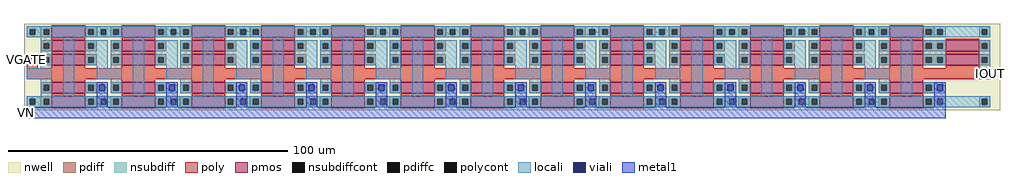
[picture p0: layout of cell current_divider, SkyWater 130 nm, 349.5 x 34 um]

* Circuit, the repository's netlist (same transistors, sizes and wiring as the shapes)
* SPICE3 file created from current_divider.ext - technology: sky130A

X0 a_27400_1800# VGATE a_22400_1800# VP sky130_fd_pr__pfet_01v8 ad=16 pd=16 as=16 ps=16 w=4 l=12
X1 IOUT VGATE a_62400_1800# VP sky130_fd_pr__pfet_01v8 ad=16 pd=16 as=16 ps=12 w=4 l=12
X2 VN VGATE a_37400_1800# VP sky130_fd_pr__pfet_01v8 ad=16 pd=16 as=16 ps=16 w=4 l=12
X3 VP VGATE VP VP sky130_fd_pr__pfet_01v8 ad=16 pd=16 as=880 ps=880 w=4 l=12
X4 VP VGATE VP VP sky130_fd_pr__pfet_01v8 ad=16 pd=16 as=0 ps=0 w=4 l=12
X5 a_17400_1800# VGATE a_12400_1800# VP sky130_fd_pr__pfet_01v8 ad=16 pd=16 as=16 ps=16 w=4 l=12
X6 VN VGATE a_17400_1800# VP sky130_fd_pr__pfet_01v8 ad=16 pd=16 as=16 ps=16 w=4 l=12
X7 VN VGATE a_27400_1800# VP sky130_fd_pr__pfet_01v8 ad=16 pd=16 as=16 ps=16 w=4 l=12
X8 VP VGATE VP VP sky130_fd_pr__pfet_01v8 ad=16 pd=16 as=0 ps=0 w=4 l=12
X9 VN VGATE a_7400_1800# VP sky130_fd_pr__pfet_01v8 ad=16 pd=16 as=16 ps=16 w=4 l=12
X10 a_7400_1800# VGATE a_2400_1800# VP sky130_fd_pr__pfet_01v8 ad=16 pd=16 as=16 ps=16 w=4 l=12
X11 a_7400_1800# VGATE a_2400_1800# VP sky130_fd_pr__pfet_01v8 ad=16 pd=16 as=16 ps=16 w=4 l=12
X12 VP VGATE VP VP sky130_fd_pr__pfet_01v8 ad=16 pd=16 as=0 ps=0 w=4 l=12
X13 VP VGATE VP VP sky130_fd_pr__pfet_01v8 ad=16 pd=16 as=0 ps=0 w=4 l=12
X14 VP VGATE VP VP sky130_fd_pr__pfet_01v8 ad=16 pd=16 as=0 ps=0 w=4 l=12
X15 VP VGATE VP VP sky130_fd_pr__pfet_01v8 ad=16 pd=16 as=0 ps=0 w=4 l=12
X16 VP VGATE VP VP sky130_fd_pr__pfet_01v8 ad=16 pd=16 as=0 ps=0 w=4 l=12
X17 VP VGATE VP VP sky130_fd_pr__pfet_01v8 ad=16 pd=16 as=0 ps=0 w=4 l=12
X18 a_62400_1800# VGATE a_57400_1800# VP sky130_fd_pr__pfet_01v8 ad=16 pd=12 as=16 ps=16 w=4 l=12
X19 VP VGATE VP VP sky130_fd_pr__pfet_01v8 ad=16 pd=16 as=0 ps=0 w=4 l=12
X20 VP VGATE VP VP sky130_fd_pr__pfet_01v8 ad=16 pd=16 as=0 ps=0 w=4 l=12
X21 VP VGATE VP VP sky130_fd_pr__pfet_01v8 ad=16 pd=16 as=0 ps=0 w=4 l=12
X22 a_52400_1800# VGATE a_47400_1800# VP sky130_fd_pr__pfet_01v8 ad=16 pd=16 as=16 ps=16 w=4 l=12
X23 a_62400_1800# VGATE a_57400_1800# VP sky130_fd_pr__pfet_01v8 ad=16 pd=12 as=16 ps=16 w=4 l=12
X24 VP VGATE VP VP sky130_fd_pr__pfet_01v8 ad=16 pd=16 as=0 ps=0 w=4 l=12
X25 a_42400_1800# VGATE a_37400_1800# VP sky130_fd_pr__pfet_01v8 ad=16 pd=16 as=16 ps=16 w=4 l=12
X26 a_52400_1800# VGATE a_47400_1800# VP sky130_fd_pr__pfet_01v8 ad=16 pd=16 as=16 ps=16 w=4 l=12
X27 VP VGATE VP VP sky130_fd_pr__pfet_01v8 ad=16 pd=16 as=0 ps=0 w=4 l=12
X28 a_22400_1800# VGATE a_17400_1800# VP sky130_fd_pr__pfet_01v8 ad=16 pd=16 as=16 ps=16 w=4 l=12
X29 a_32400_1800# VGATE a_27400_1800# VP sky130_fd_pr__pfet_01v8 ad=16 pd=16 as=16 ps=16 w=4 l=12
X30 a_42400_1800# VGATE a_37400_1800# VP sky130_fd_pr__pfet_01v8 ad=16 pd=16 as=16 ps=16 w=4 l=12
X31 VP VGATE VP VP sky130_fd_pr__pfet_01v8 ad=16 pd=16 as=0 ps=0 w=4 l=12
X32 a_12400_1800# VGATE a_7400_1800# VP sky130_fd_pr__pfet_01v8 ad=16 pd=16 as=16 ps=16 w=4 l=12
X33 a_22400_1800# VGATE a_17400_1800# VP sky130_fd_pr__pfet_01v8 ad=16 pd=16 as=16 ps=16 w=4 l=12
X34 a_32400_1800# VGATE a_27400_1800# VP sky130_fd_pr__pfet_01v8 ad=16 pd=16 as=16 ps=16 w=4 l=12
X35 a_12400_1800# VGATE a_7400_1800# VP sky130_fd_pr__pfet_01v8 ad=16 pd=16 as=16 ps=16 w=4 l=12
X36 VN VGATE a_42400_1800# VP sky130_fd_pr__pfet_01v8 ad=16 pd=16 as=16 ps=16 w=4 l=12
X37 VN VGATE a_52400_1800# VP sky130_fd_pr__pfet_01v8 ad=16 pd=16 as=16 ps=16 w=4 l=12
X38 VP VGATE VP VP sky130_fd_pr__pfet_01v8 ad=16 pd=16 as=0 ps=0 w=4 l=12
X39 VN VGATE VP VP sky130_fd_pr__pfet_01v8 ad=16 pd=16 as=16 ps=16 w=4 l=12
X40 VN VGATE a_32400_1800# VP sky130_fd_pr__pfet_01v8 ad=16 pd=16 as=16 ps=16 w=4 l=12
X41 VN VGATE a_22400_1800# VP sky130_fd_pr__pfet_01v8 ad=16 pd=16 as=16 ps=16 w=4 l=12
X42 VN VGATE a_12400_1800# VP sky130_fd_pr__pfet_01v8 ad=16 pd=16 as=16 ps=16 w=4 l=12
X43 VP VGATE VP VP sky130_fd_pr__pfet_01v8 ad=16 pd=16 as=0 ps=0 w=4 l=12
X44 VN VGATE a_2400_1800# VP sky130_fd_pr__pfet_01v8 ad=16 pd=16 as=16 ps=16 w=4 l=12
X45 VP VGATE VP VP sky130_fd_pr__pfet_01v8 ad=16 pd=16 as=0 ps=0 w=4 l=12
X46 VP VGATE VP VP sky130_fd_pr__pfet_01v8 ad=16 pd=16 as=0 ps=0 w=4 l=12
X47 VP VGATE VP VP sky130_fd_pr__pfet_01v8 ad=16 pd=16 as=0 ps=0 w=4 l=12
X48 VP VGATE VP VP sky130_fd_pr__pfet_01v8 ad=16 pd=16 as=0 ps=0 w=4 l=12
X49 VP VGATE VP VP sky130_fd_pr__pfet_01v8 ad=16 pd=16 as=0 ps=0 w=4 l=12
X50 VP VGATE VP VP sky130_fd_pr__pfet_01v8 ad=16 pd=16 as=0 ps=0 w=4 l=12
X51 a_47400_1800# VGATE a_42400_1800# VP sky130_fd_pr__pfet_01v8 ad=16 pd=16 as=16 ps=16 w=4 l=12
X52 a_57400_1800# VGATE a_52400_1800# VP sky130_fd_pr__pfet_01v8 ad=16 pd=16 as=16 ps=16 w=4 l=12
X53 VP VGATE VP VP sky130_fd_pr__pfet_01v8 ad=16 pd=16 as=0 ps=0 w=4 l=12
X54 VP VGATE VP VP sky130_fd_pr__pfet_01v8 ad=16 pd=16 as=0 ps=0 w=4 l=12
X55 a_2400_1800# VGATE VP VP sky130_fd_pr__pfet_01v8 ad=16 pd=16 as=16 ps=16 w=4 l=12
X56 a_37400_1800# VGATE a_32400_1800# VP sky130_fd_pr__pfet_01v8 ad=16 pd=16 as=16 ps=16 w=4 l=12
X57 a_47400_1800# VGATE a_42400_1800# VP sky130_fd_pr__pfet_01v8 ad=16 pd=16 as=16 ps=16 w=4 l=12
X58 a_57400_1800# VGATE a_52400_1800# VP sky130_fd_pr__pfet_01v8 ad=16 pd=16 as=16 ps=16 w=4 l=12
X59 VP VGATE VP VP sky130_fd_pr__pfet_01v8 ad=16 pd=16 as=0 ps=0 w=4 l=12
X60 a_17400_1800# VGATE a_12400_1800# VP sky130_fd_pr__pfet_01v8 ad=16 pd=16 as=16 ps=16 w=4 l=12
X61 a_27400_1800# VGATE a_22400_1800# VP sky130_fd_pr__pfet_01v8 ad=16 pd=16 as=16 ps=16 w=4 l=12
X62 IOUT VGATE a_62400_1800# VP sky130_fd_pr__pfet_01v8 ad=16 pd=16 as=16 ps=12 w=4 l=12
X63 a_2400_1800# VGATE VP VP sky130_fd_pr__pfet_01v8 ad=16 pd=16 as=16 ps=16 w=4 l=12
X64 a_37400_1800# VGATE a_32400_1800# VP sky130_fd_pr__pfet_01v8 ad=16 pd=16 as=16 ps=16 w=4 l=12
X65 VN VGATE a_47400_1800# VP sky130_fd_pr__pfet_01v8 ad=16 pd=16 as=16 ps=16 w=4 l=12
X66 VN VGATE a_57400_1800# VP sky130_fd_pr__pfet_01v8 ad=16 pd=16 as=16 ps=16 w=4 l=12

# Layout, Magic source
magic
tech sky130A
<< nwell >>
rect -1000 -700 33950 2400
<< pmos >>
rect 0 1900 1200 2300
rect 2500 1900 3700 2300
rect 5000 1900 6200 2300
rect 7500 1900 8700 2300
rect 10000 1900 11200 2300
rect 12500 1900 13700 2300
rect 15000 1900 16200 2300
rect 17500 1900 18700 2300
rect 20000 1900 21200 2300
rect 22500 1900 23700 2300
rect 25000 1900 26200 2300
rect 27500 1900 28700 2300
rect 30000 1900 31200 2300
rect 0 1400 1200 1800
rect 2500 1400 3700 1800
rect 5000 1400 6200 1800
rect 7500 1400 8700 1800
rect 10000 1400 11200 1800
rect 12500 1400 13700 1800
rect 15000 1400 16200 1800
rect 17500 1400 18700 1800
rect 20000 1400 21200 1800
rect 22500 1400 23700 1800
rect 25000 1400 26200 1800
rect 27500 1400 28700 1800
rect 30000 1400 31200 1800
rect 32000 1400 33200 1800
rect 0 900 1200 1300
rect 2500 900 3700 1300
rect 5000 900 6200 1300
rect 7500 900 8700 1300
rect 10000 900 11200 1300
rect 12500 900 13700 1300
rect 15000 900 16200 1300
rect 17500 900 18700 1300
rect 20000 900 21200 1300
rect 22500 900 23700 1300
rect 25000 900 26200 1300
rect 27500 900 28700 1300
rect 30000 900 31200 1300
rect 32000 900 33200 1300
rect 0 -100 1200 300
rect 2500 -100 3700 300
rect 5000 -100 6200 300
rect 7500 -100 8700 300
rect 10000 -100 11200 300
rect 12500 -100 13700 300
rect 15000 -100 16200 300
rect 17500 -100 18700 300
rect 20000 -100 21200 300
rect 22500 -100 23700 300
rect 25000 -100 26200 300
rect 27500 -100 28700 300
rect 30000 -100 31200 300
rect 0 -600 1200 -200
rect 2500 -600 3700 -200
rect 5000 -600 6200 -200
rect 7500 -600 8700 -200
rect 10000 -600 11200 -200
rect 12500 -600 13700 -200
rect 15000 -600 16200 -200
rect 17500 -600 18700 -200
rect 20000 -600 21200 -200
rect 22500 -600 23700 -200
rect 25000 -600 26200 -200
rect 27500 -600 28700 -200
rect 30000 -600 31200 -200
<< pdiff >>
rect -400 2200 0 2300
rect -400 2000 -300 2200
rect -100 2000 0 2200
rect -400 1900 0 2000
rect 1200 2200 1600 2300
rect 2100 2200 2500 2300
rect 1200 2000 1300 2200
rect 1500 2000 1600 2200
rect 2100 2000 2200 2200
rect 2400 2000 2500 2200
rect 1200 1900 1600 2000
rect 2100 1900 2500 2000
rect 3700 2200 4100 2300
rect 4600 2200 5000 2300
rect 3700 2000 3800 2200
rect 4000 2000 4100 2200
rect 4600 2000 4700 2200
rect 4900 2000 5000 2200
rect 3700 1900 4100 2000
rect 4600 1900 5000 2000
rect 6200 2200 6600 2300
rect 7100 2200 7500 2300
rect 6200 2000 6300 2200
rect 6500 2000 6600 2200
rect 7100 2000 7200 2200
rect 7400 2000 7500 2200
rect 6200 1900 6600 2000
rect 7100 1900 7500 2000
rect 8700 2200 9100 2300
rect 9600 2200 10000 2300
rect 8700 2000 8800 2200
rect 9000 2000 9100 2200
rect 9600 2000 9700 2200
rect 9900 2000 10000 2200
rect 8700 1900 9100 2000
rect 9600 1900 10000 2000
rect 11200 2200 11600 2300
rect 12100 2200 12500 2300
rect 11200 2000 11300 2200
rect 11500 2000 11600 2200
rect 12100 2000 12200 2200
rect 12400 2000 12500 2200
rect 11200 1900 11600 2000
rect 12100 1900 12500 2000
rect 13700 2200 14100 2300
rect 14600 2200 15000 2300
rect 13700 2000 13800 2200
rect 14000 2000 14100 2200
rect 14600 2000 14700 2200
rect 14900 2000 15000 2200
rect 13700 1900 14100 2000
rect 14600 1900 15000 2000
rect 16200 2200 16600 2300
rect 17100 2200 17500 2300
rect 16200 2000 16300 2200
rect 16500 2000 16600 2200
rect 17100 2000 17200 2200
rect 17400 2000 17500 2200
rect 16200 1900 16600 2000
rect 17100 1900 17500 2000
rect 18700 2200 19100 2300
rect 19600 2200 20000 2300
rect 18700 2000 18800 2200
rect 19000 2000 19100 2200
rect 19600 2000 19700 2200
rect 19900 2000 20000 2200
rect 18700 1900 19100 2000
rect 19600 1900 20000 2000
rect 21200 2200 21600 2300
rect 22100 2200 22500 2300
rect 21200 2000 21300 2200
rect 21500 2000 21600 2200
rect 22100 2000 22200 2200
rect 22400 2000 22500 2200
rect 21200 1900 21600 2000
rect 22100 1900 22500 2000
rect 23700 2200 24100 2300
rect 24600 2200 25000 2300
rect 23700 2000 23800 2200
rect 24000 2000 24100 2200
rect 24600 2000 24700 2200
rect 24900 2000 25000 2200
rect 23700 1900 24100 2000
rect 24600 1900 25000 2000
rect 26200 2200 26600 2300
rect 27100 2200 27500 2300
rect 26200 2000 26300 2200
rect 26500 2000 26600 2200
rect 27100 2000 27200 2200
rect 27400 2000 27500 2200
rect 26200 1900 26600 2000
rect 27100 1900 27500 2000
rect 28700 2200 29100 2300
rect 29600 2200 30000 2300
rect 28700 2000 28800 2200
rect 29000 2000 29100 2200
rect 29600 2000 29700 2200
rect 29900 2000 30000 2200
rect 28700 1900 29100 2000
rect 29600 1900 30000 2000
rect 31200 2200 31600 2300
rect 31200 2000 31300 2200
rect 31500 2000 31600 2200
rect 31200 1900 31600 2000
rect -400 1700 0 1800
rect -400 1500 -300 1700
rect -100 1500 0 1700
rect -400 1400 0 1500
rect 1200 1700 1600 1800
rect 1200 1500 1300 1700
rect 1500 1500 1600 1700
rect 1200 1400 1600 1500
rect 2100 1700 2500 1800
rect 2100 1500 2200 1700
rect 2400 1500 2500 1700
rect 2100 1400 2500 1500
rect 3700 1700 4100 1800
rect 3700 1500 3800 1700
rect 4000 1500 4100 1700
rect 3700 1400 4100 1500
rect 4600 1700 5000 1800
rect 4600 1500 4700 1700
rect 4900 1500 5000 1700
rect 4600 1400 5000 1500
rect 6200 1700 6600 1800
rect 6200 1500 6300 1700
rect 6500 1500 6600 1700
rect 6200 1400 6600 1500
rect 7100 1700 7500 1800
rect 7100 1500 7200 1700
rect 7400 1500 7500 1700
rect 7100 1400 7500 1500
rect 8700 1700 9100 1800
rect 8700 1500 8800 1700
rect 9000 1500 9100 1700
rect 8700 1400 9100 1500
rect 9600 1700 10000 1800
rect 9600 1500 9700 1700
rect 9900 1500 10000 1700
rect 9600 1400 10000 1500
rect 11200 1700 11600 1800
rect 11200 1500 11300 1700
rect 11500 1500 11600 1700
rect 11200 1400 11600 1500
rect 12100 1700 12500 1800
rect 12100 1500 12200 1700
rect 12400 1500 12500 1700
rect 12100 1400 12500 1500
rect 13700 1700 14100 1800
rect 13700 1500 13800 1700
rect 14000 1500 14100 1700
rect 13700 1400 14100 1500
rect 14600 1700 15000 1800
rect 14600 1500 14700 1700
rect 14900 1500 15000 1700
rect 14600 1400 15000 1500
rect 16200 1700 16600 1800
rect 16200 1500 16300 1700
rect 16500 1500 16600 1700
rect 16200 1400 16600 1500
rect 17100 1700 17500 1800
rect 17100 1500 17200 1700
rect 17400 1500 17500 1700
rect 17100 1400 17500 1500
rect 18700 1700 19100 1800
rect 18700 1500 18800 1700
rect 19000 1500 19100 1700
rect 18700 1400 19100 1500
rect 19600 1700 20000 1800
rect 19600 1500 19700 1700
rect 19900 1500 20000 1700
rect 19600 1400 20000 1500
rect 21200 1700 21600 1800
rect 21200 1500 21300 1700
rect 21500 1500 21600 1700
rect 21200 1400 21600 1500
rect 22100 1700 22500 1800
rect 22100 1500 22200 1700
rect 22400 1500 22500 1700
rect 22100 1400 22500 1500
rect 23700 1700 24100 1800
rect 23700 1500 23800 1700
rect 24000 1500 24100 1700
rect 23700 1400 24100 1500
rect 24600 1700 25000 1800
rect 24600 1500 24700 1700
rect 24900 1500 25000 1700
rect 24600 1400 25000 1500
rect 26200 1700 26600 1800
rect 26200 1500 26300 1700
rect 26500 1500 26600 1700
rect 26200 1400 26600 1500
rect 27100 1700 27500 1800
rect 27100 1500 27200 1700
rect 27400 1500 27500 1700
rect 27100 1400 27500 1500
rect 28700 1700 29100 1800
rect 28700 1500 28800 1700
rect 29000 1500 29100 1700
rect 28700 1400 29100 1500
rect 29600 1700 30000 1800
rect 29600 1500 29700 1700
rect 29900 1500 30000 1700
rect 29600 1400 30000 1500
rect 31200 1700 32000 1800
rect 31200 1500 31300 1700
rect 31500 1500 31700 1700
rect 31900 1500 32000 1700
rect 31200 1400 32000 1500
rect 33200 1700 33600 1800
rect 33200 1500 33300 1700
rect 33500 1500 33600 1700
rect 33200 1400 33600 1500
rect -400 1200 0 1300
rect -400 1000 -300 1200
rect -100 1000 0 1200
rect -400 900 0 1000
rect 1200 1200 1600 1300
rect 1200 1000 1300 1200
rect 1500 1000 1600 1200
rect 1200 900 1600 1000
rect 2100 1200 2500 1300
rect 2100 1000 2200 1200
rect 2400 1000 2500 1200
rect 2100 900 2500 1000
rect 3700 1200 4100 1300
rect 3700 1000 3800 1200
rect 4000 1000 4100 1200
rect 3700 900 4100 1000
rect 4600 1200 5000 1300
rect 4600 1000 4700 1200
rect 4900 1000 5000 1200
rect 4600 900 5000 1000
rect 6200 1200 6600 1300
rect 6200 1000 6300 1200
rect 6500 1000 6600 1200
rect 6200 900 6600 1000
rect 7100 1200 7500 1300
rect 7100 1000 7200 1200
rect 7400 1000 7500 1200
rect 7100 900 7500 1000
rect 8700 1200 9100 1300
rect 8700 1000 8800 1200
rect 9000 1000 9100 1200
rect 8700 900 9100 1000
rect 9600 1200 10000 1300
rect 9600 1000 9700 1200
rect 9900 1000 10000 1200
rect 9600 900 10000 1000
rect 11200 1200 11600 1300
rect 11200 1000 11300 1200
rect 11500 1000 11600 1200
rect 11200 900 11600 1000
rect 12100 1200 12500 1300
rect 12100 1000 12200 1200
rect 12400 1000 12500 1200
rect 12100 900 12500 1000
rect 13700 1200 14100 1300
rect 13700 1000 13800 1200
rect 14000 1000 14100 1200
rect 13700 900 14100 1000
rect 14600 1200 15000 1300
rect 14600 1000 14700 1200
rect 14900 1000 15000 1200
rect 14600 900 15000 1000
rect 16200 1200 16600 1300
rect 16200 1000 16300 1200
rect 16500 1000 16600 1200
rect 16200 900 16600 1000
rect 17100 1200 17500 1300
rect 17100 1000 17200 1200
rect 17400 1000 17500 1200
rect 17100 900 17500 1000
rect 18700 1200 19100 1300
rect 18700 1000 18800 1200
rect 19000 1000 19100 1200
rect 18700 900 19100 1000
rect 19600 1200 20000 1300
rect 19600 1000 19700 1200
rect 19900 1000 20000 1200
rect 19600 900 20000 1000
rect 21200 1200 21600 1300
rect 21200 1000 21300 1200
rect 21500 1000 21600 1200
rect 21200 900 21600 1000
rect 22100 1200 22500 1300
rect 22100 1000 22200 1200
rect 22400 1000 22500 1200
rect 22100 900 22500 1000
rect 23700 1200 24100 1300
rect 23700 1000 23800 1200
rect 24000 1000 24100 1200
rect 23700 900 24100 1000
rect 24600 1200 25000 1300
rect 24600 1000 24700 1200
rect 24900 1000 25000 1200
rect 24600 900 25000 1000
rect 26200 1200 26600 1300
rect 26200 1000 26300 1200
rect 26500 1000 26600 1200
rect 26200 900 26600 1000
rect 27100 1200 27500 1300
rect 27100 1000 27200 1200
rect 27400 1000 27500 1200
rect 27100 900 27500 1000
rect 28700 1200 29100 1300
rect 28700 1000 28800 1200
rect 29000 1000 29100 1200
rect 28700 900 29100 1000
rect 29600 1200 30000 1300
rect 29600 1000 29700 1200
rect 29900 1000 30000 1200
rect 29600 900 30000 1000
rect 31200 1200 32000 1300
rect 31200 1000 31300 1200
rect 31500 1000 31700 1200
rect 31900 1000 32000 1200
rect 31200 900 32000 1000
rect 33200 1200 33600 1300
rect 33200 1000 33300 1200
rect 33500 1000 33600 1200
rect 33200 900 33600 1000
rect -400 200 0 300
rect -400 0 -300 200
rect -100 0 0 200
rect -400 -100 0 0
rect 1200 200 1600 300
rect 1200 0 1300 200
rect 1500 0 1600 200
rect 1200 -100 1600 0
rect 2100 200 2500 300
rect 2100 0 2200 200
rect 2400 0 2500 200
rect 2100 -100 2500 0
rect 3700 200 4100 300
rect 3700 0 3800 200
rect 4000 0 4100 200
rect 3700 -100 4100 0
rect 4600 200 5000 300
rect 4600 0 4700 200
rect 4900 0 5000 200
rect 4600 -100 5000 0
rect 6200 200 6600 300
rect 6200 0 6300 200
rect 6500 0 6600 200
rect 6200 -100 6600 0
rect 7100 200 7500 300
rect 7100 0 7200 200
rect 7400 0 7500 200
rect 7100 -100 7500 0
rect 8700 200 9100 300
rect 8700 0 8800 200
rect 9000 0 9100 200
rect 8700 -100 9100 0
rect 9600 200 10000 300
rect 9600 0 9700 200
rect 9900 0 10000 200
rect 9600 -100 10000 0
rect 11200 200 11600 300
rect 11200 0 11300 200
rect 11500 0 11600 200
rect 11200 -100 11600 0
rect 12100 200 12500 300
rect 12100 0 12200 200
rect 12400 0 12500 200
rect 12100 -100 12500 0
rect 13700 200 14100 300
rect 13700 0 13800 200
rect 14000 0 14100 200
rect 13700 -100 14100 0
rect 14600 200 15000 300
rect 14600 0 14700 200
rect 14900 0 15000 200
rect 14600 -100 15000 0
rect 16200 200 16600 300
rect 16200 0 16300 200
rect 16500 0 16600 200
rect 16200 -100 16600 0
rect 17100 200 17500 300
rect 17100 0 17200 200
rect 17400 0 17500 200
rect 17100 -100 17500 0
rect 18700 200 19100 300
rect 18700 0 18800 200
rect 19000 0 19100 200
rect 18700 -100 19100 0
rect 19600 200 20000 300
rect 19600 0 19700 200
rect 19900 0 20000 200
rect 19600 -100 20000 0
rect 21200 200 21600 300
rect 21200 0 21300 200
rect 21500 0 21600 200
rect 21200 -100 21600 0
rect 22100 200 22500 300
rect 22100 0 22200 200
rect 22400 0 22500 200
rect 22100 -100 22500 0
rect 23700 200 24100 300
rect 23700 0 23800 200
rect 24000 0 24100 200
rect 23700 -100 24100 0
rect 24600 200 25000 300
rect 24600 0 24700 200
rect 24900 0 25000 200
rect 24600 -100 25000 0
rect 26200 200 26600 300
rect 26200 0 26300 200
rect 26500 0 26600 200
rect 26200 -100 26600 0
rect 27100 200 27500 300
rect 27100 0 27200 200
rect 27400 0 27500 200
rect 27100 -100 27500 0
rect 28700 200 29100 300
rect 28700 0 28800 200
rect 29000 0 29100 200
rect 28700 -100 29100 0
rect 29600 200 30000 300
rect 29600 0 29700 200
rect 29900 0 30000 200
rect 29600 -100 30000 0
rect 31200 200 31600 300
rect 31200 0 31300 200
rect 31500 0 31600 200
rect 31200 -100 31600 0
rect -400 -300 0 -200
rect -400 -500 -300 -300
rect -100 -500 0 -300
rect -400 -600 0 -500
rect 1200 -300 1600 -200
rect 2100 -300 2500 -200
rect 1200 -500 1300 -300
rect 1500 -500 1600 -300
rect 2100 -500 2200 -300
rect 2400 -500 2500 -300
rect 1200 -600 1600 -500
rect 2100 -600 2500 -500
rect 3700 -300 4100 -200
rect 4600 -300 5000 -200
rect 3700 -500 3800 -300
rect 4000 -500 4100 -300
rect 4600 -500 4700 -300
rect 4900 -500 5000 -300
rect 3700 -600 4100 -500
rect 4600 -600 5000 -500
rect 6200 -300 6600 -200
rect 7100 -300 7500 -200
rect 6200 -500 6300 -300
rect 6500 -500 6600 -300
rect 7100 -500 7200 -300
rect 7400 -500 7500 -300
rect 6200 -600 6600 -500
rect 7100 -600 7500 -500
rect 8700 -300 9100 -200
rect 9600 -300 10000 -200
rect 8700 -500 8800 -300
rect 9000 -500 9100 -300
rect 9600 -500 9700 -300
rect 9900 -500 10000 -300
rect 8700 -600 9100 -500
rect 9600 -600 10000 -500
rect 11200 -300 11600 -200
rect 12100 -300 12500 -200
rect 11200 -500 11300 -300
rect 11500 -500 11600 -300
rect 12100 -500 12200 -300
rect 12400 -500 12500 -300
rect 11200 -600 11600 -500
rect 12100 -600 12500 -500
rect 13700 -300 14100 -200
rect 14600 -300 15000 -200
rect 13700 -500 13800 -300
rect 14000 -500 14100 -300
rect 14600 -500 14700 -300
rect 14900 -500 15000 -300
rect 13700 -600 14100 -500
rect 14600 -600 15000 -500
rect 16200 -300 16600 -200
rect 17100 -300 17500 -200
rect 16200 -500 16300 -300
rect 16500 -500 16600 -300
rect 17100 -500 17200 -300
rect 17400 -500 17500 -300
rect 16200 -600 16600 -500
rect 17100 -600 17500 -500
rect 18700 -300 19100 -200
rect 19600 -300 20000 -200
rect 18700 -500 18800 -300
rect 19000 -500 19100 -300
rect 19600 -500 19700 -300
rect 19900 -500 20000 -300
rect 18700 -600 19100 -500
rect 19600 -600 20000 -500
rect 21200 -300 21600 -200
rect 22100 -300 22500 -200
rect 21200 -500 21300 -300
rect 21500 -500 21600 -300
rect 22100 -500 22200 -300
rect 22400 -500 22500 -300
rect 21200 -600 21600 -500
rect 22100 -600 22500 -500
rect 23700 -300 24100 -200
rect 24600 -300 25000 -200
rect 23700 -500 23800 -300
rect 24000 -500 24100 -300
rect 24600 -500 24700 -300
rect 24900 -500 25000 -300
rect 23700 -600 24100 -500
rect 24600 -600 25000 -500
rect 26200 -300 26600 -200
rect 27100 -300 27500 -200
rect 26200 -500 26300 -300
rect 26500 -500 26600 -300
rect 27100 -500 27200 -300
rect 27400 -500 27500 -300
rect 26200 -600 26600 -500
rect 27100 -600 27500 -500
rect 28700 -300 29100 -200
rect 29600 -300 30000 -200
rect 28700 -500 28800 -300
rect 29000 -500 29100 -300
rect 29600 -500 29700 -300
rect 29900 -500 30000 -300
rect 28700 -600 29100 -500
rect 29600 -600 30000 -500
rect 31200 -300 31600 -200
rect 31200 -500 31300 -300
rect 31500 -500 31600 -300
rect 31200 -600 31600 -500
<< pdiffc >>
rect -300 2000 -100 2200
rect 1300 2000 1500 2200
rect 2200 2000 2400 2200
rect 3800 2000 4000 2200
rect 4700 2000 4900 2200
rect 6300 2000 6500 2200
rect 7200 2000 7400 2200
rect 8800 2000 9000 2200
rect 9700 2000 9900 2200
rect 11300 2000 11500 2200
rect 12200 2000 12400 2200
rect 13800 2000 14000 2200
rect 14700 2000 14900 2200
rect 16300 2000 16500 2200
rect 17200 2000 17400 2200
rect 18800 2000 19000 2200
rect 19700 2000 19900 2200
rect 21300 2000 21500 2200
rect 22200 2000 22400 2200
rect 23800 2000 24000 2200
rect 24700 2000 24900 2200
rect 26300 2000 26500 2200
rect 27200 2000 27400 2200
rect 28800 2000 29000 2200
rect 29700 2000 29900 2200
rect 31300 2000 31500 2200
rect -300 1500 -100 1700
rect 1300 1500 1500 1700
rect 2200 1500 2400 1700
rect 3800 1500 4000 1700
rect 4700 1500 4900 1700
rect 6300 1500 6500 1700
rect 7200 1500 7400 1700
rect 8800 1500 9000 1700
rect 9700 1500 9900 1700
rect 11300 1500 11500 1700
rect 12200 1500 12400 1700
rect 13800 1500 14000 1700
rect 14700 1500 14900 1700
rect 16300 1500 16500 1700
rect 17200 1500 17400 1700
rect 18800 1500 19000 1700
rect 19700 1500 19900 1700
rect 21300 1500 21500 1700
rect 22200 1500 22400 1700
rect 23800 1500 24000 1700
rect 24700 1500 24900 1700
rect 26300 1500 26500 1700
rect 27200 1500 27400 1700
rect 28800 1500 29000 1700
rect 29700 1500 29900 1700
rect 31300 1500 31500 1700
rect 31700 1500 31900 1700
rect 33300 1500 33500 1700
rect -300 1000 -100 1200
rect 1300 1000 1500 1200
rect 2200 1000 2400 1200
rect 3800 1000 4000 1200
rect 4700 1000 4900 1200
rect 6300 1000 6500 1200
rect 7200 1000 7400 1200
rect 8800 1000 9000 1200
rect 9700 1000 9900 1200
rect 11300 1000 11500 1200
rect 12200 1000 12400 1200
rect 13800 1000 14000 1200
rect 14700 1000 14900 1200
rect 16300 1000 16500 1200
rect 17200 1000 17400 1200
rect 18800 1000 19000 1200
rect 19700 1000 19900 1200
rect 21300 1000 21500 1200
rect 22200 1000 22400 1200
rect 23800 1000 24000 1200
rect 24700 1000 24900 1200
rect 26300 1000 26500 1200
rect 27200 1000 27400 1200
rect 28800 1000 29000 1200
rect 29700 1000 29900 1200
rect 31300 1000 31500 1200
rect 31700 1000 31900 1200
rect 33300 1000 33500 1200
rect -300 0 -100 200
rect 1300 0 1500 200
rect 2200 0 2400 200
rect 3800 0 4000 200
rect 4700 0 4900 200
rect 6300 0 6500 200
rect 7200 0 7400 200
rect 8800 0 9000 200
rect 9700 0 9900 200
rect 11300 0 11500 200
rect 12200 0 12400 200
rect 13800 0 14000 200
rect 14700 0 14900 200
rect 16300 0 16500 200
rect 17200 0 17400 200
rect 18800 0 19000 200
rect 19700 0 19900 200
rect 21300 0 21500 200
rect 22200 0 22400 200
rect 23800 0 24000 200
rect 24700 0 24900 200
rect 26300 0 26500 200
rect 27200 0 27400 200
rect 28800 0 29000 200
rect 29700 0 29900 200
rect 31300 0 31500 200
rect -300 -500 -100 -300
rect 1300 -500 1500 -300
rect 2200 -500 2400 -300
rect 3800 -500 4000 -300
rect 4700 -500 4900 -300
rect 6300 -500 6500 -300
rect 7200 -500 7400 -300
rect 8800 -500 9000 -300
rect 9700 -500 9900 -300
rect 11300 -500 11500 -300
rect 12200 -500 12400 -300
rect 13800 -500 14000 -300
rect 14700 -500 14900 -300
rect 16300 -500 16500 -300
rect 17200 -500 17400 -300
rect 18800 -500 19000 -300
rect 19700 -500 19900 -300
rect 21300 -500 21500 -300
rect 22200 -500 22400 -300
rect 23800 -500 24000 -300
rect 24700 -500 24900 -300
rect 26300 -500 26500 -300
rect 27200 -500 27400 -300
rect 28800 -500 29000 -300
rect 29700 -500 29900 -300
rect 31300 -500 31500 -300
<< nsubdiff >>
rect -900 2200 -400 2300
rect -900 2000 -800 2200
rect -600 2000 -400 2200
rect -900 1900 -400 2000
rect 1600 2200 2100 2300
rect 1600 2000 1750 2200
rect 1950 2000 2100 2200
rect 1600 1900 2100 2000
rect 4100 2200 4600 2300
rect 4100 2000 4250 2200
rect 4450 2000 4600 2200
rect 4100 1900 4600 2000
rect 6600 2200 7100 2300
rect 6600 2000 6750 2200
rect 6950 2000 7100 2200
rect 6600 1900 7100 2000
rect 9100 2200 9600 2300
rect 9100 2000 9250 2200
rect 9450 2000 9600 2200
rect 9100 1900 9600 2000
rect 11600 2200 12100 2300
rect 11600 2000 11750 2200
rect 11950 2000 12100 2200
rect 11600 1900 12100 2000
rect 14100 2200 14600 2300
rect 14100 2000 14250 2200
rect 14450 2000 14600 2200
rect 14100 1900 14600 2000
rect 16600 2200 17100 2300
rect 16600 2000 16750 2200
rect 16950 2000 17100 2200
rect 16600 1900 17100 2000
rect 19100 2200 19600 2300
rect 19100 2000 19250 2200
rect 19450 2000 19600 2200
rect 19100 1900 19600 2000
rect 21600 2200 22100 2300
rect 21600 2000 21750 2200
rect 21950 2000 22100 2200
rect 21600 1900 22100 2000
rect 24100 2200 24600 2300
rect 24100 2000 24250 2200
rect 24450 2000 24600 2200
rect 24100 1900 24600 2000
rect 26600 2200 27100 2300
rect 26600 2000 26750 2200
rect 26950 2000 27100 2200
rect 26600 1900 27100 2000
rect 29100 2200 29600 2300
rect 29100 2000 29250 2200
rect 29450 2000 29600 2200
rect 29100 1900 29600 2000
rect 31600 2200 32000 2300
rect 31600 2000 31700 2200
rect 31900 2000 32000 2200
rect 31600 1900 32000 2000
rect 33200 2200 33600 2300
rect 33200 2000 33300 2200
rect 33500 2000 33600 2200
rect 33200 1900 33600 2000
rect -900 -300 -400 -200
rect -900 -500 -800 -300
rect -600 -500 -400 -300
rect -900 -600 -400 -500
rect 1600 -300 2100 -200
rect 1600 -500 1750 -300
rect 1950 -500 2100 -300
rect 1600 -600 2100 -500
rect 4100 -300 4600 -200
rect 4100 -500 4250 -300
rect 4450 -500 4600 -300
rect 4100 -600 4600 -500
rect 6600 -300 7100 -200
rect 6600 -500 6750 -300
rect 6950 -500 7100 -300
rect 6600 -600 7100 -500
rect 9100 -300 9600 -200
rect 9100 -500 9250 -300
rect 9450 -500 9600 -300
rect 9100 -600 9600 -500
rect 11600 -300 12100 -200
rect 11600 -500 11750 -300
rect 11950 -500 12100 -300
rect 11600 -600 12100 -500
rect 14100 -300 14600 -200
rect 14100 -500 14250 -300
rect 14450 -500 14600 -300
rect 14100 -600 14600 -500
rect 16600 -300 17100 -200
rect 16600 -500 16750 -300
rect 16950 -500 17100 -300
rect 16600 -600 17100 -500
rect 19100 -300 19600 -200
rect 19100 -500 19250 -300
rect 19450 -500 19600 -300
rect 19100 -600 19600 -500
rect 21600 -300 22100 -200
rect 21600 -500 21750 -300
rect 21950 -500 22100 -300
rect 21600 -600 22100 -500
rect 24100 -300 24600 -200
rect 24100 -500 24250 -300
rect 24450 -500 24600 -300
rect 24100 -600 24600 -500
rect 26600 -300 27100 -200
rect 26600 -500 26750 -300
rect 26950 -500 27100 -300
rect 26600 -600 27100 -500
rect 29100 -300 29600 -200
rect 29100 -500 29250 -300
rect 29450 -500 29600 -300
rect 29100 -600 29600 -500
rect 31600 -300 32000 -200
rect 31600 -500 31700 -300
rect 31900 -500 32000 -300
rect 31600 -600 32000 -500
rect 33200 -300 33600 -200
rect 33200 -500 33300 -300
rect 33500 -500 33600 -300
rect 33200 -600 33600 -500
<< nsubdiffcont >>
rect -800 2000 -600 2200
rect 1750 2000 1950 2200
rect 4250 2000 4450 2200
rect 6750 2000 6950 2200
rect 9250 2000 9450 2200
rect 11750 2000 11950 2200
rect 14250 2000 14450 2200
rect 16750 2000 16950 2200
rect 19250 2000 19450 2200
rect 21750 2000 21950 2200
rect 24250 2000 24450 2200
rect 26750 2000 26950 2200
rect 29250 2000 29450 2200
rect 31700 2000 31900 2200
rect 33300 2000 33500 2200
rect -800 -500 -600 -300
rect 1750 -500 1950 -300
rect 4250 -500 4450 -300
rect 6750 -500 6950 -300
rect 9250 -500 9450 -300
rect 11750 -500 11950 -300
rect 14250 -500 14450 -300
rect 16750 -500 16950 -300
rect 19250 -500 19450 -300
rect 21750 -500 21950 -300
rect 24250 -500 24450 -300
rect 26750 -500 26950 -300
rect 29250 -500 29450 -300
rect 31700 -500 31900 -300
rect 33300 -500 33500 -300
<< poly >>
rect 0 2300 1200 2335
rect 2500 2300 3700 2335
rect 5000 2300 6200 2335
rect 7500 2300 8700 2335
rect 10000 2300 11200 2335
rect 12500 2300 13700 2335
rect 15000 2300 16200 2335
rect 17500 2300 18700 2335
rect 20000 2300 21200 2335
rect 22500 2300 23700 2335
rect 25000 2300 26200 2335
rect 27500 2300 28700 2335
rect 30000 2300 31200 2335
rect 0 1800 1200 1900
rect 2500 1800 3700 1900
rect 5000 1800 6200 1900
rect 7500 1800 8700 1900
rect 10000 1800 11200 1900
rect 12500 1800 13700 1900
rect 15000 1800 16200 1900
rect 17500 1800 18700 1900
rect 20000 1800 21200 1900
rect 22500 1800 23700 1900
rect 25000 1800 26200 1900
rect 27500 1800 28700 1900
rect 30000 1800 31200 1900
rect 32000 1800 33200 1850
rect 0 1300 1200 1400
rect 2500 1300 3700 1400
rect 5000 1300 6200 1400
rect 7500 1300 8700 1400
rect 10000 1300 11200 1400
rect 12500 1300 13700 1400
rect 15000 1300 16200 1400
rect 17500 1300 18700 1400
rect 20000 1300 21200 1400
rect 22500 1300 23700 1400
rect 25000 1300 26200 1400
rect 27500 1300 28700 1400
rect 30000 1300 31200 1400
rect 32000 1300 33200 1400
rect -900 1200 -500 1300
rect -900 1000 -800 1200
rect -600 1000 -500 1200
rect -900 800 -500 1000
rect 0 800 1200 900
rect 2500 800 3700 900
rect 5000 800 6200 900
rect 7500 800 8700 900
rect 10000 800 11200 900
rect 12500 800 13700 900
rect 15000 800 16200 900
rect 17500 800 18700 900
rect 20000 800 21200 900
rect 22500 800 23700 900
rect 25000 800 26200 900
rect 27500 800 28700 900
rect 30000 800 31200 900
rect 32000 800 33200 900
rect -900 419 33200 800
rect -901 400 33200 419
rect 0 300 1200 400
rect 2500 300 3700 400
rect 5000 300 6200 400
rect 7500 300 8700 400
rect 10000 300 11200 400
rect 12500 300 13700 400
rect 15000 300 16200 400
rect 17500 300 18700 400
rect 20000 300 21200 400
rect 22500 300 23700 400
rect 25000 300 26200 400
rect 27500 300 28700 400
rect 30000 300 31200 400
rect 0 -200 1200 -100
rect 2500 -200 3700 -100
rect 5000 -200 6200 -100
rect 7500 -200 8700 -100
rect 10000 -200 11200 -100
rect 12500 -200 13700 -100
rect 15000 -200 16200 -100
rect 17500 -200 18700 -100
rect 20000 -200 21200 -100
rect 22500 -200 23700 -100
rect 25000 -200 26200 -100
rect 27500 -200 28700 -100
rect 30000 -200 31200 -100
rect 0 -635 1200 -600
rect 2500 -635 3700 -600
rect 5000 -635 6200 -600
rect 7500 -635 8700 -600
rect 10000 -635 11200 -600
rect 12500 -635 13700 -600
rect 15000 -635 16200 -600
rect 17500 -635 18700 -600
rect 20000 -635 21200 -600
rect 22500 -635 23700 -600
rect 25000 -635 26200 -600
rect 27500 -635 28700 -600
rect 30000 -635 31200 -600
<< polycont >>
rect -800 1000 -600 1200
<< locali >>
rect -900 2200 33600 2300
rect -900 2000 -800 2200
rect -600 2000 -300 2200
rect -100 2000 1300 2200
rect 1500 2000 1750 2200
rect 1950 2000 2200 2200
rect 2400 2000 3800 2200
rect 4000 2000 4250 2200
rect 4450 2000 4700 2200
rect 4900 2000 6300 2200
rect 6500 2000 6750 2200
rect 6950 2000 7200 2200
rect 7400 2000 8800 2200
rect 9000 2000 9250 2200
rect 9450 2000 9700 2200
rect 9900 2000 11300 2200
rect 11500 2000 11750 2200
rect 11950 2000 12200 2200
rect 12400 2000 13800 2200
rect 14000 2000 14250 2200
rect 14450 2000 14700 2200
rect 14900 2000 16300 2200
rect 16500 2000 16750 2200
rect 16950 2000 17200 2200
rect 17400 2000 18800 2200
rect 19000 2000 19250 2200
rect 19450 2000 19700 2200
rect 19900 2000 21300 2200
rect 21500 2000 21750 2200
rect 21950 2000 22200 2200
rect 22400 2000 23800 2200
rect 24000 2000 24250 2200
rect 24450 2000 24700 2200
rect 24900 2000 26300 2200
rect 26500 2000 26750 2200
rect 26950 2000 27200 2200
rect 27400 2000 28800 2200
rect 29000 2000 29250 2200
rect 29450 2000 29700 2200
rect 29900 2000 31300 2200
rect 31500 2000 31700 2200
rect 31900 2000 33300 2200
rect 33500 2000 33600 2200
rect -900 1900 33600 2000
rect -400 1700 0 1900
rect -400 1500 -300 1700
rect -100 1500 0 1700
rect -900 1200 -500 1300
rect -900 1000 -800 1200
rect -600 1000 -500 1200
rect -900 900 -500 1000
rect -400 1200 0 1500
rect -400 1000 -300 1200
rect -100 1000 0 1200
rect -400 800 0 1000
rect -900 419 0 800
rect -901 400 0 419
rect -400 200 0 400
rect -400 0 -300 200
rect -100 0 0 200
rect -400 -200 0 0
rect 400 -200 800 1900
rect 1200 1700 2000 1800
rect 1200 1500 1300 1700
rect 1500 1500 2000 1700
rect 1200 1200 2000 1500
rect 1200 1000 1300 1200
rect 1500 1000 2000 1200
rect 1200 900 2000 1000
rect 1600 800 2000 900
rect 2100 1700 2500 1800
rect 2100 1500 2200 1700
rect 2400 1500 2500 1700
rect 2100 1200 2500 1500
rect 2100 1000 2200 1200
rect 2400 1000 2500 1200
rect 2100 800 2500 1000
rect 1600 400 2500 800
rect 1200 200 2000 300
rect 1200 0 1300 200
rect 1500 0 1700 200
rect 1900 0 2000 200
rect 1200 -100 2000 0
rect 2100 200 2500 400
rect 2100 0 2200 200
rect 2400 0 2500 200
rect 2100 -100 2500 0
rect 2900 -200 3300 1900
rect 3700 1700 4500 1800
rect 3700 1500 3800 1700
rect 4000 1500 4500 1700
rect 3700 1200 4500 1500
rect 3700 1000 3800 1200
rect 4000 1000 4500 1200
rect 3700 900 4500 1000
rect 4100 800 4500 900
rect 4600 1700 5000 1800
rect 4600 1500 4700 1700
rect 4900 1500 5000 1700
rect 4600 1200 5000 1500
rect 4600 1000 4700 1200
rect 4900 1000 5000 1200
rect 4600 800 5000 1000
rect 4100 400 5000 800
rect 3700 200 4500 300
rect 3700 0 3800 200
rect 4000 0 4200 200
rect 4400 0 4500 200
rect 3700 -100 4500 0
rect 4600 200 5000 400
rect 4600 0 4700 200
rect 4900 0 5000 200
rect 4600 -100 5000 0
rect 5400 -200 5800 1900
rect 6200 1700 7000 1800
rect 6200 1500 6300 1700
rect 6500 1500 7000 1700
rect 6200 1200 7000 1500
rect 6200 1000 6300 1200
rect 6500 1000 7000 1200
rect 6200 900 7000 1000
rect 6600 800 7000 900
rect 7100 1700 7500 1800
rect 7100 1500 7200 1700
rect 7400 1500 7500 1700
rect 7100 1200 7500 1500
rect 7100 1000 7200 1200
rect 7400 1000 7500 1200
rect 7100 800 7500 1000
rect 6600 400 7500 800
rect 6200 200 7000 300
rect 6200 0 6300 200
rect 6500 0 6700 200
rect 6900 0 7000 200
rect 6200 -100 7000 0
rect 7100 200 7500 400
rect 7100 0 7200 200
rect 7400 0 7500 200
rect 7100 -100 7500 0
rect 7900 -200 8300 1900
rect 8700 1700 9500 1800
rect 8700 1500 8800 1700
rect 9000 1500 9500 1700
rect 8700 1200 9500 1500
rect 8700 1000 8800 1200
rect 9000 1000 9500 1200
rect 8700 900 9500 1000
rect 9100 800 9500 900
rect 9600 1700 10000 1800
rect 9600 1500 9700 1700
rect 9900 1500 10000 1700
rect 9600 1200 10000 1500
rect 9600 1000 9700 1200
rect 9900 1000 10000 1200
rect 9600 800 10000 1000
rect 9100 400 10000 800
rect 8700 200 9500 300
rect 8700 0 8800 200
rect 9000 0 9200 200
rect 9400 0 9500 200
rect 8700 -100 9500 0
rect 9600 200 10000 400
rect 9600 0 9700 200
rect 9900 0 10000 200
rect 9600 -100 10000 0
rect 10400 -200 10800 1900
rect 11200 1700 12000 1800
rect 11200 1500 11300 1700
rect 11500 1500 12000 1700
rect 11200 1200 12000 1500
rect 11200 1000 11300 1200
rect 11500 1000 12000 1200
rect 11200 900 12000 1000
rect 11600 800 12000 900
rect 12100 1700 12500 1800
rect 12100 1500 12200 1700
rect 12400 1500 12500 1700
rect 12100 1200 12500 1500
rect 12100 1000 12200 1200
rect 12400 1000 12500 1200
rect 12100 800 12500 1000
rect 11600 400 12500 800
rect 11200 200 12000 300
rect 11200 0 11300 200
rect 11500 0 11700 200
rect 11900 0 12000 200
rect 11200 -100 12000 0
rect 12100 200 12500 400
rect 12100 0 12200 200
rect 12400 0 12500 200
rect 12100 -100 12500 0
rect 12900 -200 13300 1900
rect 13700 1700 14500 1800
rect 13700 1500 13800 1700
rect 14000 1500 14500 1700
rect 13700 1200 14500 1500
rect 13700 1000 13800 1200
rect 14000 1000 14500 1200
rect 13700 900 14500 1000
rect 14100 800 14500 900
rect 14600 1700 15000 1800
rect 14600 1500 14700 1700
rect 14900 1500 15000 1700
rect 14600 1200 15000 1500
rect 14600 1000 14700 1200
rect 14900 1000 15000 1200
rect 14600 800 15000 1000
rect 14100 400 15000 800
rect 13700 200 14500 300
rect 13700 0 13800 200
rect 14000 0 14200 200
rect 14400 0 14500 200
rect 13700 -100 14500 0
rect 14600 200 15000 400
rect 14600 0 14700 200
rect 14900 0 15000 200
rect 14600 -100 15000 0
rect 15400 -200 15800 1900
rect 16200 1700 17000 1800
rect 16200 1500 16300 1700
rect 16500 1500 17000 1700
rect 16200 1200 17000 1500
rect 16200 1000 16300 1200
rect 16500 1000 17000 1200
rect 16200 900 17000 1000
rect 16600 800 17000 900
rect 17100 1700 17500 1800
rect 17100 1500 17200 1700
rect 17400 1500 17500 1700
rect 17100 1200 17500 1500
rect 17100 1000 17200 1200
rect 17400 1000 17500 1200
rect 17100 800 17500 1000
rect 16600 400 17500 800
rect 16200 200 17000 300
rect 16200 0 16300 200
rect 16500 0 16700 200
rect 16900 0 17000 200
rect 16200 -100 17000 0
rect 17100 200 17500 400
rect 17100 0 17200 200
rect 17400 0 17500 200
rect 17100 -100 17500 0
rect 17900 -200 18300 1900
rect 18700 1700 19500 1800
rect 18700 1500 18800 1700
rect 19000 1500 19500 1700
rect 18700 1200 19500 1500
rect 18700 1000 18800 1200
rect 19000 1000 19500 1200
rect 18700 900 19500 1000
rect 19100 800 19500 900
rect 19600 1700 20000 1800
rect 19600 1500 19700 1700
rect 19900 1500 20000 1700
rect 19600 1200 20000 1500
rect 19600 1000 19700 1200
rect 19900 1000 20000 1200
rect 19600 800 20000 1000
rect 19100 400 20000 800
rect 18700 200 19500 300
rect 18700 0 18800 200
rect 19000 0 19200 200
rect 19400 0 19500 200
rect 18700 -100 19500 0
rect 19600 200 20000 400
rect 19600 0 19700 200
rect 19900 0 20000 200
rect 19600 -100 20000 0
rect 20400 -200 20800 1900
rect 21200 1700 22000 1800
rect 21200 1500 21300 1700
rect 21500 1500 22000 1700
rect 21200 1200 22000 1500
rect 21200 1000 21300 1200
rect 21500 1000 22000 1200
rect 21200 900 22000 1000
rect 21600 800 22000 900
rect 22100 1700 22500 1800
rect 22100 1500 22200 1700
rect 22400 1500 22500 1700
rect 22100 1200 22500 1500
rect 22100 1000 22200 1200
rect 22400 1000 22500 1200
rect 22100 800 22500 1000
rect 21600 400 22500 800
rect 21200 200 22000 300
rect 21200 0 21300 200
rect 21500 0 21700 200
rect 21900 0 22000 200
rect 21200 -100 22000 0
rect 22100 200 22500 400
rect 22100 0 22200 200
rect 22400 0 22500 200
rect 22100 -100 22500 0
rect 22900 -200 23300 1900
rect 23700 1700 24500 1800
rect 23700 1500 23800 1700
rect 24000 1500 24500 1700
rect 23700 1200 24500 1500
rect 23700 1000 23800 1200
rect 24000 1000 24500 1200
rect 23700 900 24500 1000
rect 24100 800 24500 900
rect 24600 1700 25000 1800
rect 24600 1500 24700 1700
rect 24900 1500 25000 1700
rect 24600 1200 25000 1500
rect 24600 1000 24700 1200
rect 24900 1000 25000 1200
rect 24600 800 25000 1000
rect 24100 400 25000 800
rect 23700 200 24500 300
rect 23700 0 23800 200
rect 24000 0 24200 200
rect 24400 0 24500 200
rect 23700 -100 24500 0
rect 24600 200 25000 400
rect 24600 0 24700 200
rect 24900 0 25000 200
rect 24600 -100 25000 0
rect 25400 -200 25800 1900
rect 26200 1700 27000 1800
rect 26200 1500 26300 1700
rect 26500 1500 27000 1700
rect 26200 1200 27000 1500
rect 26200 1000 26300 1200
rect 26500 1000 27000 1200
rect 26200 900 27000 1000
rect 26600 800 27000 900
rect 27100 1700 27500 1800
rect 27100 1500 27200 1700
rect 27400 1500 27500 1700
rect 27100 1200 27500 1500
rect 27100 1000 27200 1200
rect 27400 1000 27500 1200
rect 27100 800 27500 1000
rect 26600 400 27500 800
rect 26200 200 27000 300
rect 26200 0 26300 200
rect 26500 0 26700 200
rect 26900 0 27000 200
rect 26200 -100 27000 0
rect 27100 200 27500 400
rect 27100 0 27200 200
rect 27400 0 27500 200
rect 27100 -100 27500 0
rect 27900 -200 28300 1900
rect 28700 1700 29500 1800
rect 28700 1500 28800 1700
rect 29000 1500 29500 1700
rect 28700 1200 29500 1500
rect 28700 1000 28800 1200
rect 29000 1000 29500 1200
rect 28700 900 29500 1000
rect 29100 800 29500 900
rect 29600 1700 30000 1800
rect 29600 1500 29700 1700
rect 29900 1500 30000 1700
rect 29600 1200 30000 1500
rect 29600 1000 29700 1200
rect 29900 1000 30000 1200
rect 29600 800 30000 1000
rect 29100 400 30000 800
rect 28700 200 29500 300
rect 28700 0 28800 200
rect 29000 0 29200 200
rect 29400 0 29500 200
rect 28700 -100 29500 0
rect 29600 200 30000 400
rect 29600 0 29700 200
rect 29900 0 30000 200
rect 29600 -100 30000 0
rect 30400 -200 30800 1900
rect 31200 1700 32000 1800
rect 31200 1500 31300 1700
rect 31500 1500 31700 1700
rect 31900 1500 32000 1700
rect 31200 1200 32000 1500
rect 31200 1000 31300 1200
rect 31500 1000 31700 1200
rect 31900 1000 32000 1200
rect 31200 900 32000 1000
rect 33200 1700 33600 1800
rect 33200 1500 33300 1700
rect 33500 1500 33600 1700
rect 33200 1200 33600 1500
rect 33200 1000 33300 1200
rect 33500 1000 33600 1200
rect 33200 400 33600 1000
rect 31200 200 32000 300
rect 31200 0 31300 200
rect 31500 0 31700 200
rect 31900 0 32000 200
rect 31200 -100 32000 0
rect -900 -300 33600 -200
rect -900 -500 -800 -300
rect -600 -500 -300 -300
rect -100 -500 1300 -300
rect 1500 -500 1750 -300
rect 1950 -500 2200 -300
rect 2400 -500 3800 -300
rect 4000 -500 4250 -300
rect 4450 -500 4700 -300
rect 4900 -500 6300 -300
rect 6500 -500 6750 -300
rect 6950 -500 7200 -300
rect 7400 -500 8800 -300
rect 9000 -500 9250 -300
rect 9450 -500 9700 -300
rect 9900 -500 11300 -300
rect 11500 -500 11750 -300
rect 11950 -500 12200 -300
rect 12400 -500 13800 -300
rect 14000 -500 14250 -300
rect 14450 -500 14700 -300
rect 14900 -500 16300 -300
rect 16500 -500 16750 -300
rect 16950 -500 17200 -300
rect 17400 -500 18800 -300
rect 19000 -500 19250 -300
rect 19450 -500 19700 -300
rect 19900 -500 21300 -300
rect 21500 -500 21750 -300
rect 21950 -500 22200 -300
rect 22400 -500 23800 -300
rect 24000 -500 24250 -300
rect 24450 -500 24700 -300
rect 24900 -500 26300 -300
rect 26500 -500 26750 -300
rect 26950 -500 27200 -300
rect 27400 -500 28800 -300
rect 29000 -500 29250 -300
rect 29450 -500 29700 -300
rect 29900 -500 31300 -300
rect 31500 -500 31700 -300
rect 31900 -500 33300 -300
rect 33500 -500 33600 -300
rect -900 -600 33600 -500
<< viali >>
rect 1700 0 1900 200
rect 4200 0 4400 200
rect 6700 0 6900 200
rect 9200 0 9400 200
rect 11700 0 11900 200
rect 14200 0 14400 200
rect 16700 0 16900 200
rect 19200 0 19400 200
rect 21700 0 21900 200
rect 24200 0 24400 200
rect 26700 0 26900 200
rect 29200 0 29400 200
rect 31700 0 31900 200
<< metal1 >>
rect 1600 200 2000 300
rect 1600 0 1700 200
rect 1900 0 2000 200
rect 1600 -600 2000 0
rect 4100 200 4500 300
rect 4100 0 4200 200
rect 4400 0 4500 200
rect 4100 -600 4500 0
rect 6600 200 7000 300
rect 6600 0 6700 200
rect 6900 0 7000 200
rect 6600 -600 7000 0
rect 9100 200 9500 300
rect 9100 0 9200 200
rect 9400 0 9500 200
rect 9100 -600 9500 0
rect 11600 200 12000 300
rect 11600 0 11700 200
rect 11900 0 12000 200
rect 11600 -600 12000 0
rect 14100 200 14500 300
rect 14100 0 14200 200
rect 14400 0 14500 200
rect 14100 -600 14500 0
rect 16600 200 17000 300
rect 16600 0 16700 200
rect 16900 0 17000 200
rect 16600 -600 17000 0
rect 19100 200 19500 300
rect 19100 0 19200 200
rect 19400 0 19500 200
rect 19100 -600 19500 0
rect 21600 200 22000 300
rect 21600 0 21700 200
rect 21900 0 22000 200
rect 21600 -600 22000 0
rect 24100 200 24500 300
rect 24100 0 24200 200
rect 24400 0 24500 200
rect 24100 -600 24500 0
rect 26600 200 27000 300
rect 26600 0 26700 200
rect 26900 0 27000 200
rect 26600 -600 27000 0
rect 29100 200 29500 300
rect 29100 0 29200 200
rect 29400 0 29500 200
rect 29100 -600 29500 0
rect 31600 200 32000 300
rect 31600 0 31700 200
rect 31900 0 32000 200
rect 31600 -600 32000 0
rect -900 -1000 32000 -600
<< labels >>
rlabel locali -900 900 -900 1300 7 VGATE
port 2 w
rlabel nwell -900 400 -900 800 7 VP
port 3 w
rlabel metal1 -900 -1000 -900 -600 7 VN
port 4 w
rlabel locali 33600 400 33600 800 3 IOUT
port 5 e
<< end >>
